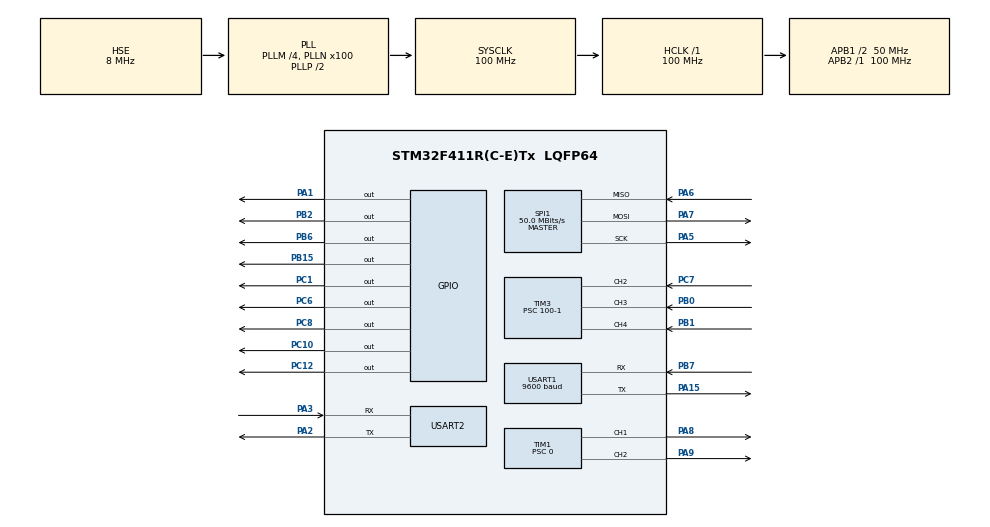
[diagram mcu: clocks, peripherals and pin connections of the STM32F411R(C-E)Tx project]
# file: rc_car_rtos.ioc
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Dma.Request0=USART1_RX
Dma.Request1=USART1_TX
Dma.Request2=USART2_RX
Dma.Request3=USART2_TX
Dma.USART1_RX.0.Direction=DMA_PERIPH_TO_MEMORY
Dma.USART1_RX.0.FIFOMode=DMA_FIFOMODE_DISABLE
Dma.USART1_RX.0.Instance=DMA2_Stream2
Dma.USART1_RX.0.MemDataAlignment=DMA_MDATAALIGN_BYTE
Dma.USART1_RX.0.MemInc=DMA_MINC_ENABLE
Dma.USART1_RX.0.Mode=DMA_CIRCULAR
Dma.USART1_RX.0.PeriphDataAlignment=DMA_PDATAALIGN_BYTE
Dma.USART1_RX.0.PeriphInc=DMA_PINC_DISABLE
Dma.USART1_RX.0.Priority=DMA_PRIORITY_LOW
Dma.USART1_TX.1.Direction=DMA_MEMORY_TO_PERIPH
Dma.USART1_TX.1.FIFOMode=DMA_FIFOMODE_DISABLE
Dma.USART1_TX.1.Instance=DMA2_Stream7
Dma.USART1_TX.1.MemDataAlignment=DMA_MDATAALIGN_BYTE
Dma.USART1_TX.1.MemInc=DMA_MINC_ENABLE
Dma.USART1_TX.1.Mode=DMA_NORMAL
Dma.USART1_TX.1.PeriphDataAlignment=DMA_PDATAALIGN_BYTE
Dma.USART1_TX.1.PeriphInc=DMA_PINC_DISABLE
Dma.USART1_TX.1.Priority=DMA_PRIORITY_LOW
Dma.USART2_RX.2.Direction=DMA_PERIPH_TO_MEMORY
Dma.USART2_RX.2.FIFOMode=DMA_FIFOMODE_DISABLE
Dma.USART2_RX.2.Instance=DMA1_Stream5
Dma.USART2_RX.2.MemDataAlignment=DMA_MDATAALIGN_BYTE
Dma.USART2_RX.2.MemInc=DMA_MINC_ENABLE
Dma.USART2_RX.2.Mode=DMA_CIRCULAR
Dma.USART2_RX.2.PeriphDataAlignment=DMA_PDATAALIGN_BYTE
Dma.USART2_RX.2.PeriphInc=DMA_PINC_DISABLE
Dma.USART2_RX.2.Priority=DMA_PRIORITY_LOW
Dma.USART2_TX.3.Direction=DMA_MEMORY_TO_PERIPH
Dma.USART2_TX.3.FIFOMode=DMA_FIFOMODE_DISABLE
Dma.USART2_TX.3.Instance=DMA1_Stream6
Dma.USART2_TX.3.MemDataAlignment=DMA_MDATAALIGN_BYTE
Dma.USART2_TX.3.MemInc=DMA_MINC_ENABLE
Dma.USART2_TX.3.Mode=DMA_NORMAL
Dma.USART2_TX.3.PeriphDataAlignment=DMA_PDATAALIGN_BYTE
Dma.USART2_TX.3.PeriphInc=DMA_PINC_DISABLE
Dma.USART2_TX.3.Priority=DMA_PRIORITY_LOW
FREERTOS.CountingSemaphores01=btSemHandler,10,Dynamic,NULL,0
FREERTOS.Tasks01=MotorControlTas,24,128,Task_MotorControl,Default,NULL,Dynamic,NULL,NULL;UltrasonicTask,24,128,Task_Ultrasonic,Default,NULL,Dynamic,NULL,NULL;BluetoothTask,24,128,Task_Bluetooth,Default,NULL,Dynamic,NULL,NULL
FREERTOS.configUSE_NEWLIB_REENTRANT=1
Mcu.Family=STM32F4
Mcu.Name=STM32F411R(C-E)Tx
Mcu.Package=LQFP64
NVIC.DMA1_Stream5_IRQn=true\:5\:0\:false\:false\:true\:true\:false\:true\:true
NVIC.DMA1_Stream6_IRQn=true\:5\:0\:false\:false\:true\:true\:false\:true\:true
NVIC.DMA2_Stream2_IRQn=true\:5\:0\:false\:false\:true\:true\:false\:true\:true
NVIC.DMA2_Stream7_IRQn=true\:5\:0\:false\:false\:true\:true\:false\:true\:true
NVIC.PriorityGroup=NVIC_PRIORITYGROUP_4
NVIC.TIM1_UP_TIM10_IRQn=true\:5\:0\:false\:false\:true\:false\:false\:true\:true
NVIC.TIM3_IRQn=true\:5\:0\:false\:false\:true\:true\:true\:true\:true
NVIC.TimeBase=TIM1_UP_TIM10_IRQn
NVIC.TimeBaseIP=TIM10
NVIC.USART1_IRQn=true\:5\:0\:false\:false\:true\:true\:true\:true\:true
NVIC.USART2_IRQn=true\:5\:0\:false\:false\:true\:true\:true\:true\:true
PA1.Signal=GPIO_Output
PA13.Mode=Serial_Wire
PA13.Signal=SYS_JTMS-SWDIO
PA14.Mode=Serial_Wire
PA14.Signal=SYS_JTCK-SWCLK
PA15.Mode=Asynchronous
PA15.Signal=USART1_TX
PA2.Mode=Asynchronous
PA2.Signal=USART2_TX
PA3.Mode=Asynchronous
PA3.Signal=USART2_RX
PA5.Mode=Full_Duplex_Master
PA5.Signal=SPI1_SCK
PA6.Mode=Full_Duplex_Master
PA6.Signal=SPI1_MISO
PA7.Mode=Full_Duplex_Master
PA7.Signal=SPI1_MOSI
PA8.Signal=S_TIM1_CH1
PA9.Signal=S_TIM1_CH2
PB0.Signal=S_TIM3_CH3
PB1.Signal=S_TIM3_CH4
PB15.GPIO_Speed=GPIO_SPEED_FREQ_HIGH
PB15.Signal=GPIO_Output
PB2.GPIO_Speed=GPIO_SPEED_FREQ_HIGH
PB2.Signal=GPIO_Output
PB6.Signal=GPIO_Output
PB7.Mode=Asynchronous
PB7.Signal=USART1_RX
PC1.GPIO_Speed=GPIO_SPEED_FREQ_HIGH
PC1.Signal=GPIO_Output
PC10.PinState=GPIO_PIN_SET
PC10.Signal=GPIO_Output
PC12.PinState=GPIO_PIN_SET
PC12.Signal=GPIO_Output
PC6.PinState=GPIO_PIN_SET
PC6.Signal=GPIO_Output
PC7.Signal=S_TIM3_CH2
PC8.PinState=GPIO_PIN_SET
PC8.Signal=GPIO_Output
PH0\ -\ OSC_IN.Mode=HSE-External-Clock-Source
PH0\ -\ OSC_IN.Signal=RCC_OSC_IN
PH1\ -\ OSC_OUT.Mode=HSE-External-Clock-Source
PH1\ -\ OSC_OUT.Signal=RCC_OSC_OUT
ProjectManager.HeapSize=0x200
ProjectManager.StackSize=0x400
ProjectManager.TargetToolchain=STM32CubeIDE
RCC.48MHZClocksFreq_Value=50000000
RCC.AHBFreq_Value=100000000
RCC.APB1CLKDivider=RCC_HCLK_DIV2
RCC.APB1Freq_Value=50000000
RCC.APB1TimFreq_Value=100000000
RCC.APB2Freq_Value=100000000
RCC.APB2TimFreq_Value=100000000
RCC.CortexFreq_Value=100000000
RCC.HCLKFreq_Value=100000000
RCC.HSE_VALUE=8000000
RCC.HSI_VALUE=16000000
RCC.LSE_VALUE=32768
RCC.PLLM=4
RCC.PLLN=100
RCC.PLLSourceVirtual=RCC_PLLSOURCE_HSE
RCC.SYSCLKFreq_VALUE=100000000
RCC.SYSCLKSource=RCC_SYSCLKSOURCE_PLLCLK
RCC.VCOOutputFreq_Value=200000000
SH.S_TIM1_CH1.0=TIM1_CH1,PWM Generation1 CH1
SH.S_TIM1_CH2.0=TIM1_CH2,PWM Generation2 CH2
SH.S_TIM3_CH2.0=TIM3_CH2,Input_Capture2_from_TI2
SH.S_TIM3_CH3.0=TIM3_CH3,Input_Capture3_from_TI3
SH.S_TIM3_CH4.0=TIM3_CH4,Input_Capture4_from_TI4
SPI1.CalculateBaudRate=50.0 MBits/s
SPI1.Direction=SPI_DIRECTION_2LINES
SPI1.Mode=SPI_MODE_MASTER
SPI1.VirtualType=VM_MASTER
TIM1.Channel-PWM\ Generation1\ CH1=TIM_CHANNEL_1
TIM1.Channel-PWM\ Generation2\ CH2=TIM_CHANNEL_2
TIM1.Period=5000-1
TIM1.Prescaler=0
TIM11.Prescaler=100-1
TIM3.Channel-Input_Capture2_from_TI2=TIM_CHANNEL_2
TIM3.Channel-Input_Capture3_from_TI3=TIM_CHANNEL_3
TIM3.Channel-Input_Capture4_from_TI4=TIM_CHANNEL_4
TIM3.Prescaler=100-1
TIM9.Prescaler=100-1
USART1.BaudRate=9600
USART1.VirtualMode=VM_ASYNC
USART2.VirtualMode=VM_ASYNC
VP_FREERTOS_VS_CMSIS_V2.Mode=CMSIS_V2
VP_SYS_VS_tim10.Mode=TIM10
VP_TIM11_VS_ClockSourceINT.Mode=Enable_Timer
VP_TIM3_VS_ClockSourceINT.Mode=Internal
VP_TIM9_VS_ClockSourceINT.Mode=Internal
board=custom

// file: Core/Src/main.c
/* USER CODE BEGIN Header */
/**
  ******************************************************************************
  * @file           : main.c
  * @brief          : Main program body
  ******************************************************************************
  * @attention
  *
  * Copyright (c) 2025 STMicroelectronics.
  * All rights reserved.
  *
  * This software is licensed under terms that can be found in the LICENSE file
  * in the root directory of this software component.
  * If no LICENSE file comes with this software, it is provided AS-IS.
  *
  ******************************************************************************
  */
/* USER CODE END Header */
#include "main.h"
#include "cmsis_os.h"
#include "dma.h"
#include "spi.h"
#include "tim.h"
#include "usart.h"
#include "gpio.h"

void SystemClock_Config(void);
void MX_FREERTOS_Init(void);

int main(void)
{

  /* MCU Configuration--------------------------------------------------------*/

  /* Reset of all peripherals, Initializes the Flash interface and the Systick. */
  HAL_Init();

  /* Configure the system clock */
  SystemClock_Config();

  /* Initialize all configured peripherals */
  MX_GPIO_Init();
  MX_DMA_Init();
  MX_USART1_UART_Init();
  MX_USART2_UART_Init();
  MX_SPI1_Init();
  MX_TIM1_Init();
  MX_TIM3_Init();
  MX_TIM9_Init();
  MX_TIM11_Init();

  /* Init scheduler */
  osKernelInitialize();

  /* Call init function for freertos objects (in cmsis_os2.c) */
  MX_FREERTOS_Init();

  /* Start scheduler */
  osKernelStart();

  /* We should never get here as control is now taken by the scheduler */

  /* Infinite loop */
  while (1)
  {

  }
}

void SystemClock_Config(void)
{
  RCC_OscInitTypeDef RCC_OscInitStruct = {0};
  RCC_ClkInitTypeDef RCC_ClkInitStruct = {0};

  /** Configure the main internal regulator output voltage
  */
  __HAL_RCC_PWR_CLK_ENABLE();
  __HAL_PWR_VOLTAGESCALING_CONFIG(PWR_REGULATOR_VOLTAGE_SCALE1);

  /** Initializes the RCC Oscillators according to the specified parameters
  * in the RCC_OscInitTypeDef structure.
  */
  RCC_OscInitStruct.OscillatorType = RCC_OSCILLATORTYPE_HSE;
  RCC_OscInitStruct.HSEState = RCC_HSE_BYPASS;
  RCC_OscInitStruct.PLL.PLLState = RCC_PLL_ON;
  RCC_OscInitStruct.PLL.PLLSource = RCC_PLLSOURCE_HSE;
  RCC_OscInitStruct.PLL.PLLM = 4;
  RCC_OscInitStruct.PLL.PLLN = 100;
  RCC_OscInitStruct.PLL.PLLP = RCC_PLLP_DIV2;
  RCC_OscInitStruct.PLL.PLLQ = 4;
  if (HAL_RCC_OscConfig(&RCC_OscInitStruct) != HAL_OK)
  {
    Error_Handler();
  }

  /** Initializes the CPU, AHB and APB buses clocks
  */
  RCC_ClkInitStruct.ClockType = RCC_CLOCKTYPE_HCLK|RCC_CLOCKTYPE_SYSCLK
                              |RCC_CLOCKTYPE_PCLK1|RCC_CLOCKTYPE_PCLK2;
  RCC_ClkInitStruct.SYSCLKSource = RCC_SYSCLKSOURCE_PLLCLK;
  RCC_ClkInitStruct.AHBCLKDivider = RCC_SYSCLK_DIV1;
  RCC_ClkInitStruct.APB1CLKDivider = RCC_HCLK_DIV2;
  RCC_ClkInitStruct.APB2CLKDivider = RCC_HCLK_DIV1;

  if (HAL_RCC_ClockConfig(&RCC_ClkInitStruct, FLASH_LATENCY_3) != HAL_OK)
  {
    Error_Handler();
  }
}

void HAL_TIM_PeriodElapsedCallback(TIM_HandleTypeDef *htim)
{
  if (htim->Instance == TIM10)
  {
    HAL_IncTick();
  }
}

void Error_Handler(void)
{
  __disable_irq();
  while (1)
  {
  }
}

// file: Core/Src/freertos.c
/* USER CODE BEGIN Header */
/**
  ******************************************************************************
  * File Name          : freertos.c
  * Description        : Code for freertos applications
  ******************************************************************************
  * @attention
  *
  * Copyright (c) 2025 STMicroelectronics.
  * All rights reserved.
  *
  * This software is licensed under terms that can be found in the LICENSE file
  * in the root directory of this software component.
  * If no LICENSE file comes with this software, it is provided AS-IS.
  *
  ******************************************************************************
  */
/* USER CODE END Header */

#include "FreeRTOS.h"
#include "task.h"
#include "main.h"
#include "cmsis_os.h"

/* USER CODE BEGIN Includes */
#include "motor.h"
#include "auto_car.h"
#include "bluetooth.h"
/* USER CODE END Includes */

/* USER CODE BEGIN Variables */
extern MotorState motor;
extern CarState_t mode;
/* USER CODE END Variables */
/* Definitions for MotorControlTas */
osThreadId_t MotorControlTasHandle;
const osThreadAttr_t MotorControlTas_attributes = {
  .name = "MotorControlTas",
  .stack_size = 128 * 4,
  .priority = (osPriority_t) osPriorityNormal,
};
/* Definitions for UltrasonicTask */
osThreadId_t UltrasonicTaskHandle;
const osThreadAttr_t UltrasonicTask_attributes = {
  .name = "UltrasonicTask",
  .stack_size = 128 * 4,
  .priority = (osPriority_t) osPriorityNormal,
};
/* Definitions for BluetoothTask */
osThreadId_t BluetoothTaskHandle;
const osThreadAttr_t BluetoothTask_attributes = {
  .name = "BluetoothTask",
  .stack_size = 128 * 4,
  .priority = (osPriority_t) osPriorityNormal,
};
/* Definitions for btSemHandler */
osSemaphoreId_t btSemHandlerHandle;
const osSemaphoreAttr_t btSemHandler_attributes = {
  .name = "btSemHandler"
};

void Task_MotorControl(void *argument);
void Task_Ultrasonic(void *argument);
void Task_Bluetooth(void *argument);

void MX_FREERTOS_Init(void); /* (MISRA C 2004 rule 8.1) */

void MX_FREERTOS_Init(void) {
  /* USER CODE BEGIN Init */
  ULTRASONIC_Init();
  MOTER_DRIVE_Init();
  /* USER CODE END Init */

  /* Create the semaphores(s) */
  /* creation of btSemHandler */
  btSemHandlerHandle = osSemaphoreNew(10, 0, &btSemHandler_attributes);

  /* USER CODE BEGIN RTOS_SEMAPHORES */
  BLUETOOTH_Init();
  /* add semaphores, ... */
  /* USER CODE END RTOS_SEMAPHORES */

  /* Create the thread(s) */
  /* creation of MotorControlTas */
  MotorControlTasHandle = osThreadNew(Task_MotorControl, NULL, &MotorControlTas_attributes);

  /* creation of UltrasonicTask */
  UltrasonicTaskHandle = osThreadNew(Task_Ultrasonic, NULL, &UltrasonicTask_attributes);

  /* creation of BluetoothTask */
  BluetoothTaskHandle = osThreadNew(Task_Bluetooth, NULL, &BluetoothTask_attributes);

}

void Task_MotorControl(void *argument)
{
  /* USER CODE BEGIN Task_MotorControl */
  /* Infinite loop */
	for(;;)
	{
		BLUETOOTH_Parsing(&motor);

		switch (mode)
		{
			case Active_mode:
				MOTOR_SetMotor(motor);
				break;
			case Passive_mode:
				AUTO_Drive();
				break;
		}
		osDelay(1);
	}
  /* USER CODE END Task_MotorControl */
}

void Task_Ultrasonic(void *argument)
{
  /* USER CODE BEGIN Task_Ultrasonic */
  const TickType_t period = pdMS_TO_TICKS(30);
  TickType_t lastWake     = xTaskGetTickCount();
  uint8_t idx = 0;
  /* Infinite loop */
  for(;;)
  {
	  ULTRASONIC_TRIG_On(idx);
	  delay_us(10);
	  ULTRASONIC_TRIG_Off(idx);
	  idx = (idx + 1) % SENSOR_COUNT;

	  vTaskDelayUntil(&lastWake, period);
  }
  /* USER CODE END Task_Ultrasonic */
}

void Task_Bluetooth(void *argument)
{
  /* USER CODE BEGIN Task_Bluetooth */
    const TickType_t period = pdMS_TO_TICKS(100);
    TickType_t lastWake    = xTaskGetTickCount();
    uint16_t dist[3];
    uint8_t txData[32];
    uint8_t txLen;
  /* Infinite loop */
  for(;;)
  {
	  ULTRASONIC_GetData(dist);
	  txLen = snprintf((char*)txData, sizeof(txData),
	  				"L:%2d R:%2d C:%2d\n", dist[0], dist[1], dist[2]);

	  HAL_UART_Transmit_DMA(&huart2, txData, txLen);
	  HAL_UART_Transmit_DMA(&huart1, txData, txLen);

	  vTaskDelayUntil(&lastWake, period);
  }
  /* USER CODE END Task_Bluetooth */
}
